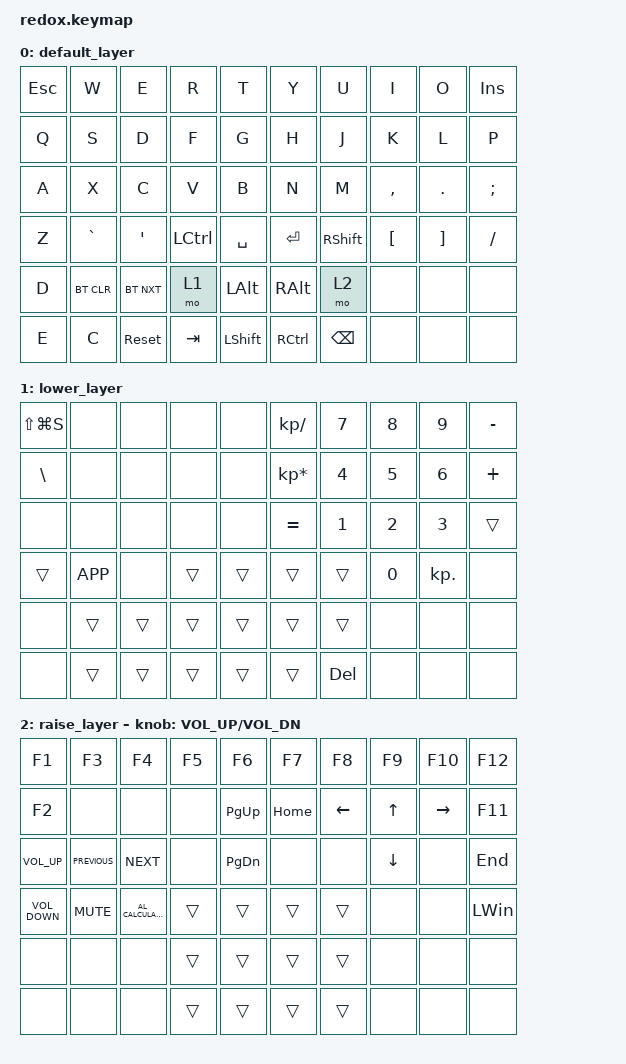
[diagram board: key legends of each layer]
/*
 * Copyright (c) 2021 The ZMK Contributors
 *
 * SPDX-License-Identifier: MIT
 */

#include <behaviors.dtsi>
#include <dt-bindings/zmk/bt.h>
#include <dt-bindings/zmk/keys.h>

/ {
    keymap {
        compatible = "zmk,keymap";

        default_layer {
            // --------------------------------------------------------------------------------------------------------------------------------
            // | ESC   |  1  |  2  |   3   |  4  |  5  |                   ---                |  6    |  7    |  8    |  9   | 0  |    BKSP   |
            // | TAB   |  Q  |  W  |   E   |  R  |  T  |   (   |           ---        |  )    |  Y    |  U    |  I    |  O   | P  |     -     |
            // | CTRL  |  A  |  S  |   D   |  F  |  G  |   [   |           ---        |  ]    |  H    |  J    |  K    |  L   | ;  |     '     |
            // | SHIFT |  Z  |  X  |   C   |  V  |  B  | PG_UP | PG_DOWN | --- | HOME | END   |  N    |  M    |  ,    |  .   | /  | SHFT(RET) |
            // | CRTL  | ALT | GUI | LOWER |    GUI    | LOWER | SPACE   | --- | DEL  | SPACE |     RAISE     | LEFT  | DOWN | UP |   RIGHT   |
            //  серый    белый      черный   корич  крас   

            bindings = <
&kp ESC  &kp W       &kp E       &kp R      &kp T         &kp Y              &kp U          &kp I             &kp O              &kp INS
&kp Q    &kp S       &kp D       &kp F      &kp G         &kp H              &kp J          &kp K             &kp L              &kp P
&kp A    &kp X       &kp C       &kp V      &kp B         &kp N              &kp M          &kp COMMA         &kp PERIOD         &kp SEMICOLON
&kp Z    &kp GRAVE   &kp SQT     &kp LCTRL  &kp SPACE     &kp ENTER          &kp RSHIFT     &kp LEFT_BRACKET  &kp RIGHT_BRACKET  &kp SLASH
&kp D    &bt BT_CLR  &bt BT_NXT  &mo 1      &kp LEFT_ALT  &kp RALT           &mo 2          &none             &none              &none
&kp E    &kp C       &sys_reset  &kp TAB    &kp LSHFT     &kp RIGHT_CONTROL  &kp BACKSPACE  &none             &none              &none
            >;
        };

        lower_layer {
            // ------------------------------------------------------------------------------------------------------------
            // | BTCLR | BT1 | BT2 |  BT3 |  BT4 |  BT5 |                   |      |       |       |      |       |       |
            // |  F1   |  F2 |  F3 |  F4  |  F5  |  F6  |                   |  F7  |  F8   |  F9   |  F10 |  F11  |  F12  |
            // |   `   |  !  |  @  |  #   |  $   |  %   |                   |  ^   |  &    |  *    |  (   |   )   |   ~   |
            // |       |     |     |      |      |      |        |  |       |      |  _    |  +    |  {   |   }   |  "|"  |
            //                     |      |      |      |        |  |       |      |       |       |

            bindings = <
&kp LS(LG(S))  &none      &none   &none   &none   &kp KP_SLASH     &kp N7      &kp N8  &kp N9      &kp MINUS
&kp BACKSLASH  &none      &none   &none   &none   &kp KP_MULTIPLY  &kp N4      &kp N5  &kp N6      &kp PLUS
&none          &none      &none   &none   &none   &kp EQUAL        &kp N1      &kp N2  &kp N3      &trans
&trans         &kp K_APP  &none   &trans  &trans  &trans           &trans      &kp N0  &kp KP_DOT  &none
&none          &trans     &trans  &trans  &trans  &trans           &trans      &none   &none       &none
&none          &trans     &trans  &trans  &trans  &trans           &kp DELETE  &none   &none       &none
            >;
        };

        raise_layer {
            // ------------------------------------------------------------------------------------------------------------
            // |       |     |     |      |      |      |                   |      |       |       |      |       |       |
            // |   `   |  1  |  2  |  3   |  4   |  5   |                   |  6   |   7   |   8   |  9   |   0   |       |
            // |   F1  |  F2 |  F3 |  F4  |  F5  |  F6  |                   |      |   <-  |   v   |  ^   |  ->   |       |
            // |   F7  |  F8 |  F9 |  F10 |  F11 |  F12 |        |  |       |  +   |   -   |   =   |  [   |   ]   |   \   |
            //                     |      |      |      |        |  |       |      |       |       |

            bindings = <
&kp F1             &kp F3          &kp F4               &kp F5  &kp F6         &kp F7    &kp F8          &kp F9          &kp F10          &kp F12
&kp F2             &none           &none                &none   &kp PG_UP      &kp HOME  &kp LEFT_ARROW  &kp UP_ARROW    &kp RIGHT_ARROW  &kp F11
&kp C_VOLUME_UP    &kp C_PREVIOUS  &kp C_NEXT           &none   &kp PAGE_DOWN  &none     &none           &kp DOWN_ARROW  &none            &kp END
&kp C_VOLUME_DOWN  &kp K_MUTE      &kp C_AL_CALCULATOR  &trans  &trans         &trans    &trans          &none           &none            &kp LWIN
&none              &none           &none                &trans  &trans         &trans    &trans          &none           &none            &none
&none              &none           &none                &trans  &trans         &trans    &trans          &none           &none            &none
            >;

            sensor-bindings = <&inc_dec_kp C_VOL_UP C_VOL_DN>;
        };
    };
};
